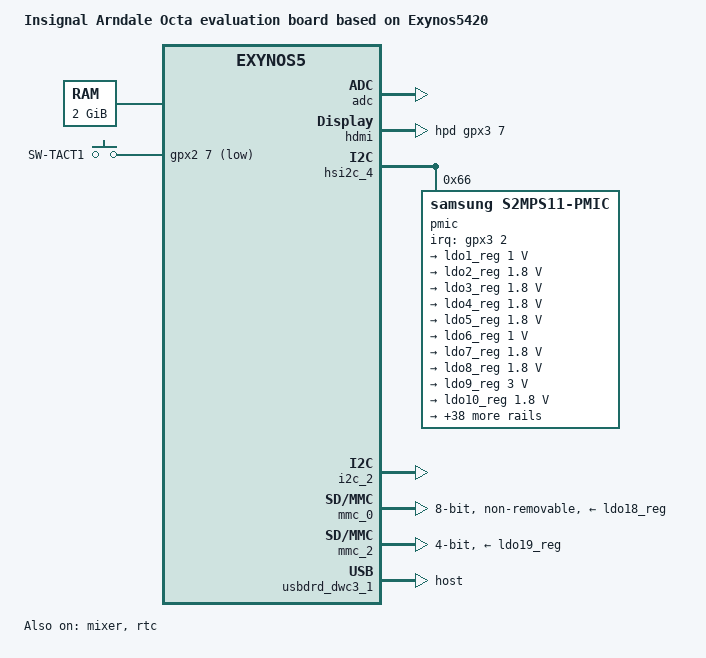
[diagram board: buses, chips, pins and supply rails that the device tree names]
// SPDX-License-Identifier: GPL-2.0
/*
 * Samsung's Exynos5420 based Arndale Octa board device tree source
 *
 * Copyright (c) 2013 Samsung Electronics Co., Ltd.
 *		http://www.samsung.com
 */

/dts-v1/;
#include "exynos5420.dtsi"
#include "exynos5420-cpus.dtsi"
#include <dt-bindings/gpio/gpio.h>
#include <dt-bindings/interrupt-controller/irq.h>
#include <dt-bindings/input/input.h>
#include <dt-bindings/clock/samsung,s2mps11.h>

/ {
	model = "Insignal Arndale Octa evaluation board based on Exynos5420";
	compatible = "insignal,arndale-octa", "samsung,exynos5420", "samsung,exynos5";

	memory@20000000 {
		device_type = "memory";
		reg = <0x20000000 0x80000000>;
	};

	chosen {
		stdout-path = "serial3:115200n8";
	};

	firmware@2073000 {
		compatible = "samsung,secure-firmware";
		reg = <0x02073000 0x1000>;
	};

	fixed-rate-clocks {
		oscclk {
			compatible = "samsung,exynos5420-oscclk";
			clock-frequency = <24000000>;
		};
	};

	gpio-keys {
		compatible = "gpio-keys";

		wakeup {
			label = "SW-TACT1";
			gpios = <&gpx2 7 GPIO_ACTIVE_LOW>;
			linux,code = <KEY_WAKEUP>;
			wakeup-source;
		};
	};
};

&adc {
	vdd-supply = <&ldo4_reg>;
	status = "okay";
};

&cci {
	status = "disabled";
};

&cpu0 {
	cpu-supply = <&buck2_reg>;
};

&cpu4 {
	cpu-supply = <&buck6_reg>;
};

&cpu0_thermal {
	trips {
		cpu0_alert0: cpu-alert-0 {
			temperature = <60000>; /* millicelsius */
			hysteresis = <5000>; /* millicelsius */
			type = "passive";
		};
		cpu0_alert1: cpu-alert-1 {
			temperature = <80000>; /* millicelsius */
			hysteresis = <10000>; /* millicelsius */
			type = "passive";
		};
		cpu0_alert2: cpu-alert-2 {
			temperature = <110000>; /* millicelsius */
			hysteresis = <10000>; /* millicelsius */
			type = "passive";
		};
		cpu0_crit0: cpu-crit-0 {
			temperature = <120000>; /* millicelsius */
			hysteresis = <0>; /* millicelsius */
			type = "critical";
		};
	};

	cooling-maps {
		/*
		 * Reduce the CPU speed by 2 steps, down to: 1600 MHz
		 * and 1100 MHz.
		 */
		map0 {
			trip = <&cpu0_alert0>;
			cooling-device = <&cpu0 0 2>,
					 <&cpu1 0 2>,
					 <&cpu2 0 2>,
					 <&cpu3 0 2>,
					 <&cpu4 0 2>,
					 <&cpu5 0 2>,
					 <&cpu6 0 2>,
					 <&cpu7 0 2>;
		};

		/*
		 * Reduce the CPU speed down to 1200 MHz big (6 steps)
		 * and 800 MHz LITTLE (5 steps).
		 */
		map1 {
			trip = <&cpu0_alert1>;
			cooling-device = <&cpu0 3 6>,
					 <&cpu1 3 6>,
					 <&cpu2 3 6>,
					 <&cpu3 3 6>,
					 <&cpu4 3 5>,
					 <&cpu5 3 5>,
					 <&cpu6 3 5>,
					 <&cpu7 3 5>;
		};

		/*
		 * Reduce the CPU speed as much as possible, down to 700 MHz
		 * big (11 steps) and 600 MHz LITTLE (7 steps).
		 */
		map2 {
			trip = <&cpu0_alert2>;
			cooling-device = <&cpu0 6 11>,
					 <&cpu1 6 11>,
					 <&cpu2 6 11>,
					 <&cpu3 6 11>,
					 <&cpu4 5 7>,
					 <&cpu5 5 7>,
					 <&cpu6 5 7>,
					 <&cpu7 5 7>;
		};
	};
};

&cpu1_thermal {
	trips {
		cpu1_alert0: cpu-alert-0 {
			temperature = <60000>; /* millicelsius */
			hysteresis = <5000>; /* millicelsius */
			type = "passive";
		};
		cpu1_alert1: cpu-alert-1 {
			temperature = <80000>; /* millicelsius */
			hysteresis = <10000>; /* millicelsius */
			type = "passive";
		};
		cpu1_alert2: cpu-alert-2 {
			temperature = <110000>; /* millicelsius */
			hysteresis = <10000>; /* millicelsius */
			type = "passive";
		};
		cpu1_crit0: cpu-crit-0 {
			temperature = <120000>; /* millicelsius */
			hysteresis = <0>; /* millicelsius */
			type = "critical";
		};
	};

	cooling-maps {
		map0 {
			trip = <&cpu1_alert0>;
			cooling-device = <&cpu0 0 2>,
					 <&cpu1 0 2>,
					 <&cpu2 0 2>,
					 <&cpu3 0 2>,
					 <&cpu4 0 2>,
					 <&cpu5 0 2>,
					 <&cpu6 0 2>,
					 <&cpu7 0 2>;
		};

		map1 {
			trip = <&cpu1_alert1>;
			cooling-device = <&cpu0 3 6>,
					 <&cpu1 3 6>,
					 <&cpu2 3 6>,
					 <&cpu3 3 6>,
					 <&cpu4 3 5>,
					 <&cpu5 3 5>,
					 <&cpu6 3 5>,
					 <&cpu7 3 5>;
		};

		map2 {
			trip = <&cpu1_alert2>;
			cooling-device = <&cpu0 6 11>,
					 <&cpu1 6 11>,
					 <&cpu2 6 11>,
					 <&cpu3 6 11>,
					 <&cpu4 5 7>,
					 <&cpu5 5 7>,
					 <&cpu6 5 7>,
					 <&cpu7 5 7>;
		};
	};
};

&cpu2_thermal {
	trips {
		cpu2_alert0: cpu-alert-0 {
			temperature = <60000>; /* millicelsius */
			hysteresis = <5000>; /* millicelsius */
			type = "passive";
		};
		cpu2_alert1: cpu-alert-1 {
			temperature = <80000>; /* millicelsius */
			hysteresis = <10000>; /* millicelsius */
			type = "passive";
		};
		cpu2_alert2: cpu-alert-2 {
			temperature = <110000>; /* millicelsius */
			hysteresis = <10000>; /* millicelsius */
			type = "passive";
		};
		cpu2_crit0: cpu-crit-0 {
			temperature = <120000>; /* millicelsius */
			hysteresis = <0>; /* millicelsius */
			type = "critical";
		};
	};

	cooling-maps {
		map0 {
			trip = <&cpu2_alert0>;
			cooling-device = <&cpu0 0 2>,
					 <&cpu1 0 2>,
					 <&cpu2 0 2>,
					 <&cpu3 0 2>,
					 <&cpu4 0 2>,
					 <&cpu5 0 2>,
					 <&cpu6 0 2>,
					 <&cpu7 0 2>;
		};

		map1 {
			trip = <&cpu2_alert1>;
			cooling-device = <&cpu0 3 6>,
					 <&cpu1 3 6>,
					 <&cpu2 3 6>,
					 <&cpu3 3 6>,
					 <&cpu4 3 5>,
					 <&cpu5 3 5>,
					 <&cpu6 3 5>,
					 <&cpu7 3 5>;
		};

		map2 {
			trip = <&cpu2_alert2>;
			cooling-device = <&cpu0 6 11>,
					 <&cpu1 6 11>,
					 <&cpu2 6 11>,
					 <&cpu3 6 11>,
					 <&cpu4 6 7>,
					 <&cpu5 6 7>,
					 <&cpu6 6 7>,
					 <&cpu7 6 7>;
		};
	};
};

&cpu3_thermal {
	trips {
		cpu3_alert0: cpu-alert-0 {
			temperature = <60000>; /* millicelsius */
			hysteresis = <5000>; /* millicelsius */
			type = "passive";
		};
		cpu3_alert1: cpu-alert-1 {
			temperature = <80000>; /* millicelsius */
			hysteresis = <10000>; /* millicelsius */
			type = "passive";
		};
		cpu3_alert2: cpu-alert-2 {
			temperature = <110000>; /* millicelsius */
			hysteresis = <10000>; /* millicelsius */
			type = "passive";
		};
		cpu3_crit0: cpu-crit-0 {
			temperature = <120000>; /* millicelsius */
			hysteresis = <0>; /* millicelsius */
			type = "critical";
		};
	};

	cooling-maps {
		map0 {
			trip = <&cpu3_alert0>;
			cooling-device = <&cpu0 0 2>,
					 <&cpu1 0 2>,
					 <&cpu2 0 2>,
					 <&cpu3 0 2>,
					 <&cpu4 0 2>,
					 <&cpu5 0 2>,
					 <&cpu6 0 2>,
					 <&cpu7 0 2>;
		};

		map1 {
			trip = <&cpu3_alert1>;
			cooling-device = <&cpu0 3 6>,
					 <&cpu1 3 6>,
					 <&cpu2 3 6>,
					 <&cpu3 3 6>,
					 <&cpu4 3 5>,
					 <&cpu5 3 5>,
					 <&cpu6 3 5>,
					 <&cpu7 3 5>;
		};

		map2 {
			trip = <&cpu3_alert2>;
			cooling-device = <&cpu0 6 11>,
					 <&cpu1 6 11>,
					 <&cpu2 6 11>,
					 <&cpu3 6 11>,
					 <&cpu4 5 7>,
					 <&cpu5 5 7>,
					 <&cpu6 5 7>,
					 <&cpu7 5 7>;
		};
	};
};

&hdmi {
	hpd-gpios = <&gpx3 7 GPIO_ACTIVE_HIGH>;
	vdd_osc-supply = <&ldo7_reg>;
	vdd_pll-supply = <&ldo6_reg>;
	vdd-supply = <&ldo6_reg>;
	ddc = <&i2c_2>;
	status = "okay";
};

&hsi2c_4 {
	status = "okay";

	pmic@66 {
		compatible = "samsung,s2mps11-pmic";
		reg = <0x66>;

		interrupt-parent = <&gpx3>;
		interrupts = <2 IRQ_TYPE_EDGE_FALLING>;
		pinctrl-names = "default";
		pinctrl-0 = <&s2mps11_irq>;

		s2mps11_osc: clocks {
			compatible = "samsung,s2mps11-clk";
			#clock-cells = <1>;
			clock-output-names = "s2mps11_ap",
					"s2mps11_cp", "s2mps11_bt";
		};

		regulators {
			ldo1_reg: LDO1 {
				regulator-name = "PVDD_ALIVE_1V0";
				regulator-min-microvolt = <1000000>;
				regulator-max-microvolt = <1000000>;
				regulator-always-on;
			};

			ldo2_reg: LDO2 {
				regulator-name = "PVDD_APIO_1V8";
				regulator-min-microvolt = <1800000>;
				regulator-max-microvolt = <1800000>;
				regulator-always-on;
			};

			ldo3_reg: LDO3 {
				regulator-name = "PVDD_APIO_MMCON_1V8";
				regulator-min-microvolt = <1800000>;
				regulator-max-microvolt = <1800000>;
				/*
				 * Must be always on, even though there is
				 * a consumer (mmc_0).  Otherwise the board
				 * does not reboot with vendor U-Boot
				 * (Linaro for Arndale Octa, v2012.07).
				 */
				regulator-always-on;

				regulator-state-mem {
					regulator-off-in-suspend;
				};
			};

			ldo4_reg: LDO4 {
				regulator-name = "PVDD_ADC_1V8";
				regulator-min-microvolt = <1800000>;
				regulator-max-microvolt = <1800000>;
			};

			ldo5_reg: LDO5 {
				regulator-name = "PVDD_PLL_1V8";
				regulator-min-microvolt = <1800000>;
				regulator-max-microvolt = <1800000>;
				regulator-always-on;
			};

			ldo6_reg: LDO6 {
				regulator-name = "PVDD_ANAIP_1V0";
				regulator-min-microvolt = <1000000>;
				regulator-max-microvolt = <1000000>;
			};

			ldo7_reg: LDO7 {
				regulator-name = "PVDD_ANAIP_1V8";
				regulator-min-microvolt = <1800000>;
				regulator-max-microvolt = <1800000>;

				regulator-state-mem {
					regulator-off-in-suspend;
				};
			};

			ldo8_reg: LDO8 {
				regulator-name = "PVDD_ABB_1V8";
				regulator-min-microvolt = <1800000>;
				regulator-max-microvolt = <1800000>;
				regulator-always-on;
			};

			ldo9_reg: LDO9 {
				regulator-name = "PVDD_USB_3V3";
				regulator-min-microvolt = <3000000>;
				regulator-max-microvolt = <3000000>;
				regulator-always-on;
			};

			ldo10_reg: LDO10 {
				regulator-name = "PVDD_PRE_1V8";
				regulator-min-microvolt = <1800000>;
				regulator-max-microvolt = <1800000>;
				regulator-always-on;
			};

			ldo11_reg: LDO11 {
				regulator-name = "PVDD_USB_1V0";
				regulator-min-microvolt = <1000000>;
				regulator-max-microvolt = <1000000>;
				regulator-always-on;
			};

			ldo12_reg: LDO12 {
				regulator-name = "PVDD_HSIC_1V8";
				regulator-min-microvolt = <1800000>;
				regulator-max-microvolt = <1800000>;
			};

			ldo13_reg: LDO13 {
				regulator-name = "PVDD_APIO_MMCOFF_2V8";
				regulator-min-microvolt = <1800000>;
				regulator-max-microvolt = <2800000>;

				regulator-state-mem {
					regulator-off-in-suspend;
				};
			};

			ldo14_reg: LDO14 {
				/* Unused */
				regulator-name = "PVDD_LDO14";
				regulator-min-microvolt = <800000>;
				regulator-max-microvolt = <3950000>;
			};

			ldo15_reg: LDO15 {
				regulator-name = "PVDD_PERI_2V8";
				regulator-min-microvolt = <3300000>;
				regulator-max-microvolt = <3300000>;

				regulator-state-mem {
					regulator-on-in-suspend;
				};
			};

			ldo16_reg: LDO16 {
				regulator-name = "PVDD_PERI_3V3";
				regulator-min-microvolt = <2200000>;
				regulator-max-microvolt = <2200000>;

				regulator-state-mem {
					regulator-on-in-suspend;
				};
			};

			ldo17_reg: LDO17 {
				/* Unused */
				regulator-name = "PVDD_LDO17";
				regulator-min-microvolt = <800000>;
				regulator-max-microvolt = <3950000>;
			};

			ldo18_reg: LDO18 {
				regulator-name = "PVDD_EMMC_1V8";
				regulator-min-microvolt = <1800000>;
				regulator-max-microvolt = <1800000>;
				/*
				 * Must stay in "off" mode during shutdown for
				 * proper eMMC reset.  The "off" mode is in
				 * fact controlled by LDO18EN.  The eMMC does
				 * not have reset pin connected so the reset
				 * will be triggered by falling edge of
				 * LDO18EN.
				 */

				regulator-state-mem {
					regulator-off-in-suspend;
				};
			};

			ldo19_reg: LDO19 {
				regulator-name = "PVDD_TFLASH_2V8";
				regulator-min-microvolt = <2800000>;
				regulator-max-microvolt = <2800000>;

				regulator-state-mem {
					regulator-off-in-suspend;
				};
			};

			ldo20_reg: LDO20 {
				regulator-name = "PVDD_BTWIFI_1V8";
				regulator-min-microvolt = <1800000>;
				regulator-max-microvolt = <1800000>;
			};

			ldo21_reg: LDO21 {
				regulator-name = "PVDD_CAM1IO_1V8";
				regulator-min-microvolt = <1800000>;
				regulator-max-microvolt = <1800000>;
			};

			ldo22_reg: LDO22 {
				/* Unused */
				regulator-name = "PVDD_LDO22";
				regulator-min-microvolt = <800000>;
				regulator-max-microvolt = <2375000>;
			};

			ldo23_reg: LDO23 {
				regulator-name = "PVDD_MIFS_1V1";
				regulator-min-microvolt = <800000>;
				regulator-max-microvolt = <1100000>;
				regulator-always-on;

				regulator-state-mem {
					regulator-on-in-suspend;
				};
			};

			ldo24_reg: LDO24 {
				regulator-name = "PVDD_CAM1_AVDD_2V8";
				regulator-min-microvolt = <2800000>;
				regulator-max-microvolt = <2800000>;

				regulator-state-mem {
					regulator-on-in-suspend;
				};
			};

			ldo25_reg: LDO25 {
				/* Unused */
				regulator-name = "PVDD_LDO25";
				regulator-min-microvolt = <800000>;
				regulator-max-microvolt = <3950000>;
			};

			ldo26_reg: LDO26 {
				regulator-name = "PVDD_CAM0_AF_2V8";
				regulator-min-microvolt = <3000000>;
				regulator-max-microvolt = <3000000>;
			};

			ldo27_reg: LDO27 {
				regulator-name = "PVDD_G3DS_1V0";
				regulator-min-microvolt = <800000>;
				regulator-max-microvolt = <1100000>;
				regulator-always-on;

				regulator-state-mem {
					regulator-on-in-suspend;
				};
			};

			ldo28_reg: LDO28 {
				regulator-name = "PVDD_TSP_3V3";
				regulator-min-microvolt = <3300000>;
				regulator-max-microvolt = <3300000>;
			};

			ldo29_reg: LDO29 {
				regulator-name = "PVDD_AUDIO_1V8";
				regulator-min-microvolt = <1800000>;
				regulator-max-microvolt = <1800000>;
			};

			ldo30_reg: LDO30 {
				/* Unused */
				regulator-name = "PVDD_LDO30";
				regulator-min-microvolt = <800000>;
				regulator-max-microvolt = <3950000>;
			};

			ldo31_reg: LDO31 {
				regulator-name = "PVDD_PERI_1V8";
				regulator-min-microvolt = <1800000>;
				regulator-max-microvolt = <1800000>;
			};

			ldo32_reg: LDO32 {
				regulator-name = "PVDD_LCD_1V8";
				regulator-min-microvolt = <1800000>;
				regulator-max-microvolt = <1800000>;
			};

			ldo33_reg: LDO33 {
				regulator-name = "PVDD_CAM0IO_1V8";
				regulator-min-microvolt = <1800000>;
				regulator-max-microvolt = <1800000>;
			};

			ldo34_reg: LDO34 {
				/* Unused */
				regulator-name = "PVDD_LDO34";
				regulator-min-microvolt = <800000>;
				regulator-max-microvolt = <3950000>;
			};

			ldo35_reg: LDO35 {
				regulator-name = "PVDD_CAM0_DVDD_1V2";
				regulator-min-microvolt = <1200000>;
				regulator-max-microvolt = <1200000>;
			};

			ldo36_reg: LDO36 {
				/* Unused */
				regulator-name = "PVDD_LDO36";
				regulator-min-microvolt = <800000>;
				regulator-max-microvolt = <3950000>;
			};

			ldo37_reg: LDO37 {
				/* Unused */
				regulator-name = "PVDD_LDO37";
				regulator-min-microvolt = <800000>;
				regulator-max-microvolt = <3950000>;
			};

			ldo38_reg: LDO38 {
				regulator-name = "PVDD_CAM0_AVDD_2V8";
				regulator-min-microvolt = <2800000>;
				regulator-max-microvolt = <2800000>;
			};

			buck1_reg: BUCK1 {
				regulator-name = "PVDD_MIF_1V1";
				regulator-min-microvolt = <800000>;
				regulator-max-microvolt = <1300000>;
				regulator-always-on;

				regulator-state-mem {
					regulator-off-in-suspend;
				};
			};

			buck2_reg: BUCK2 {
				regulator-name = "PVDD_ARM_1V0";
				regulator-min-microvolt = <800000>;
				regulator-max-microvolt = <1500000>;
				regulator-always-on;

				regulator-state-mem {
					regulator-off-in-suspend;
				};
			};

			buck3_reg: BUCK3 {
				regulator-name = "PVDD_INT_1V0";
				regulator-min-microvolt = <800000>;
				regulator-max-microvolt = <1400000>;
				regulator-always-on;

				regulator-state-mem {
					regulator-off-in-suspend;
				};
			};

			buck4_reg: BUCK4 {
				regulator-name = "PVDD_G3D_1V0";
				regulator-min-microvolt = <800000>;
				regulator-max-microvolt = <1400000>;
				regulator-always-on;

				regulator-state-mem {
					regulator-off-in-suspend;
				};
			};

			buck5_reg: BUCK5 {
				regulator-name = "PVDD_LPDDR3_1V2";
				regulator-min-microvolt = <800000>;
				regulator-max-microvolt = <1400000>;
				regulator-always-on;
			};

			buck6_reg: BUCK6 {
				regulator-name = "PVDD_KFC_1V0";
				regulator-min-microvolt = <800000>;
				regulator-max-microvolt = <1500000>;
				regulator-always-on;

				regulator-state-mem {
					regulator-off-in-suspend;
				};
			};

			buck7_reg: BUCK7 {
				regulator-name = "VIN_LLDO_1V4";
				regulator-min-microvolt = <1200000>;
				regulator-max-microvolt = <1500000>;
				regulator-always-on;
			};

			buck8_reg: BUCK8 {
				regulator-name = "VIN_MLDO_2V0";
				regulator-min-microvolt = <1800000>;
				regulator-max-microvolt = <2100000>;
				regulator-always-on;
			};

			buck9_reg: BUCK9 {
				regulator-name = "VIN_HLDO_3V5";
				regulator-min-microvolt = <3000000>;
				regulator-max-microvolt = <3500000>;
				regulator-always-on;
			};

			buck10_reg: BUCK10 {
				regulator-name = "PVDD_EMMCF_2V8";
				regulator-min-microvolt = <2800000>;
				regulator-max-microvolt = <2800000>;
				/*
				 * Must stay in "off" mode during shutdown for
				 * proper eMMC reset.  The "off" mode is in
				 * fact controlled by BUCK10EN.  The eMMC does
				 * not have reset pin connected so the reset
				 * will be triggered by falling edge of
				 * BUCK10EN.
				 */

				regulator-state-mem {
					regulator-off-in-suspend;
				};
			};
		};
	};
};

&i2c_2 {
	status = "okay";
};

&mixer {
	status = "okay";
};

&mmc_0 {
	status = "okay";
	non-removable;
	card-detect-delay = <200>;
	samsung,dw-mshc-ciu-div = <3>;
	samsung,dw-mshc-sdr-timing = <0 4>;
	samsung,dw-mshc-ddr-timing = <0 2>;
	pinctrl-names = "default";
	pinctrl-0 = <&sd0_clk &sd0_cmd &sd0_bus1 &sd0_bus4 &sd0_bus8>;
	vmmc-supply = <&ldo18_reg>;
	vqmmc-supply = <&ldo3_reg>;
	bus-width = <8>;
	cap-mmc-highspeed;
	mmc-hs200-1_8v;
};

&mmc_2 {
	status = "okay";
	card-detect-delay = <200>;
	samsung,dw-mshc-ciu-div = <3>;
	samsung,dw-mshc-sdr-timing = <0 4>;
	samsung,dw-mshc-ddr-timing = <0 2>;
	pinctrl-names = "default";
	pinctrl-0 = <&sd2_clk &sd2_cmd &sd2_cd &sd2_bus1 &sd2_bus4>;
	vmmc-supply = <&ldo19_reg>;
	vqmmc-supply = <&ldo13_reg>;
	bus-width = <4>;
	cap-sd-highspeed;
	sd-uhs-sdr50;
	sd-uhs-sdr104;
	sd-uhs-ddr50;
};

&pinctrl_0 {
	s2mps11_irq: s2mps11-irq {
		samsung,pins = "gpx3-2";
		samsung,pin-function = <EXYNOS_PIN_FUNC_F>;
		samsung,pin-pud = <EXYNOS_PIN_PULL_NONE>;
		samsung,pin-drv = <EXYNOS5420_PIN_DRV_LV1>;
	};
};

&rtc {
	status = "okay";
	clocks = <&clock CLK_RTC>, <&s2mps11_osc S2MPS11_CLK_AP>;
	clock-names = "rtc", "rtc_src";
};

&usbdrd_dwc3_1 {
	dr_mode = "host";
};
